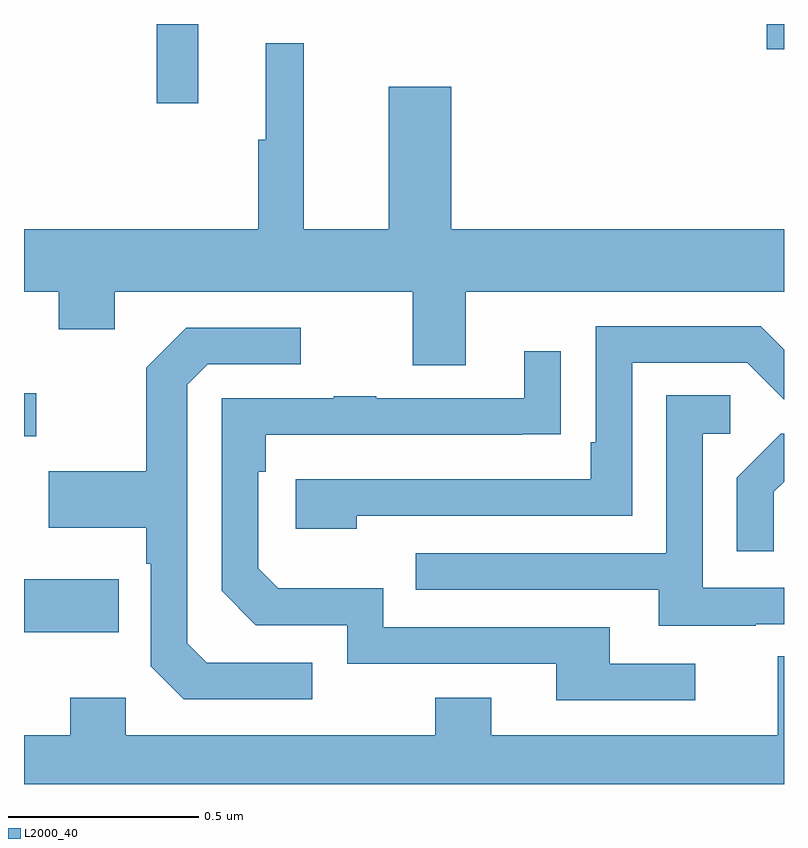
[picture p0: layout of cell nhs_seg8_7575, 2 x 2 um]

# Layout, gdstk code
import gdstk
lib = gdstk.Library(unit=1e-6, precision=1e-09)
def R(c, l, rs):  # rectangles x0, y0, x1, y1
    for r in rs: c.add(gdstk.rectangle(r[:2], r[2:], *l))
def P(c, l, *ps):  # polygons
    for p in ps: c.add(gdstk.Polygon(p, *l))
L2000_40 = (2000, 40)

nhs_seg8_7575 = lib.new_cell('nhs_seg8_7575')
R(nhs_seg8_7575, L2000_40, [(212,1086.299,212.249,1086.439), (212,1086.815,212.032,1086.928), (212.349,1087.692,212.459,1087.9), (213.954,1087.834,214,1087.9)])
P(nhs_seg8_7575, L2000_40, [(213.163,1087.196),(214,1087.196),(214,1087.36),(213.124,1087.36),(213.124,1087.735),(212.96,1087.735),(212.96,1087.36),(212.736,1087.36),(212.736,1087.849),(212.636,1087.849),(212.636,1087.596),(212.617,1087.596),(212.617,1087.36),(212,1087.36),(212,1087.196),(212.092,1087.196),(212.092,1087.097),(212.239,1087.097),(212.239,1087.196),(213.023,1087.196),(213.023,1087.002),(213.163,1087.002)],
  [(212.876,1086.606),(213.6,1086.606),(213.6,1087.008),(213.903,1087.008),(213.999,1086.912),(214,1086.912),(214,1087.043),(213.939,1087.104),(213.504,1087.104),(213.504,1086.799),(213.491,1086.799),(213.491,1086.702),(212.715,1086.702),(212.715,1086.572),(212.876,1086.572)],
  [(212.758,1086.219),(212.481,1086.219),(212.43,1086.27),(212.43,1086.951),(212.484,1087.005),(212.728,1087.005),(212.728,1087.101),(212.427,1087.101),(212.322,1086.995),(212.322,1086.723),(212.065,1086.723),(212.065,1086.575),(212.322,1086.575),(212.322,1086.479),(212.334,1086.479),(212.334,1086.21),(212.421,1086.123),(212.758,1086.123)],
  [(213.766,1086.216),(213.541,1086.216),(213.541,1086.312),(212.946,1086.312),(212.946,1086.415),(212.669,1086.415),(212.616,1086.468),(212.616,1086.722),(212.636,1086.722),(212.636,1086.819),(213.311,1086.819),(213.311,1086.82),(213.413,1086.82),(213.413,1087.039),(213.317,1087.039),(213.317,1086.915),(212.927,1086.915),(212.927,1086.92),(212.815,1086.92),(212.815,1086.915),(212.52,1086.915),(212.52,1086.408),(212.61,1086.318),(212.85,1086.318),(212.85,1086.216),(213.401,1086.216),(213.401,1086.12),(213.766,1086.12)],
  [(213.925,1086.321),(214,1086.321),(214,1086.417),(213.786,1086.417),(213.786,1086.822),(213.859,1086.822),(213.859,1086.923),(213.69,1086.923),(213.69,1086.507),(213.031,1086.507),(213.031,1086.411),(213.671,1086.411),(213.671,1086.317),(213.925,1086.317)],
  [(213.973,1086.669),(214,1086.696),(214,1086.822),(213.992,1086.822),(213.876,1086.706),(213.876,1086.513),(213.973,1086.513)],
  [(214,1086.236),(213.983,1086.236),(213.983,1086.028),(213.229,1086.028),(213.229,1086.127),(213.082,1086.127),(213.082,1086.028),(212.268,1086.028),(212.268,1086.127),(212.122,1086.127),(212.122,1086.028),(212,1086.028),(212,1085.9),(214,1085.9)])

lib.write_gds('nhs_seg8_7575.gds')
